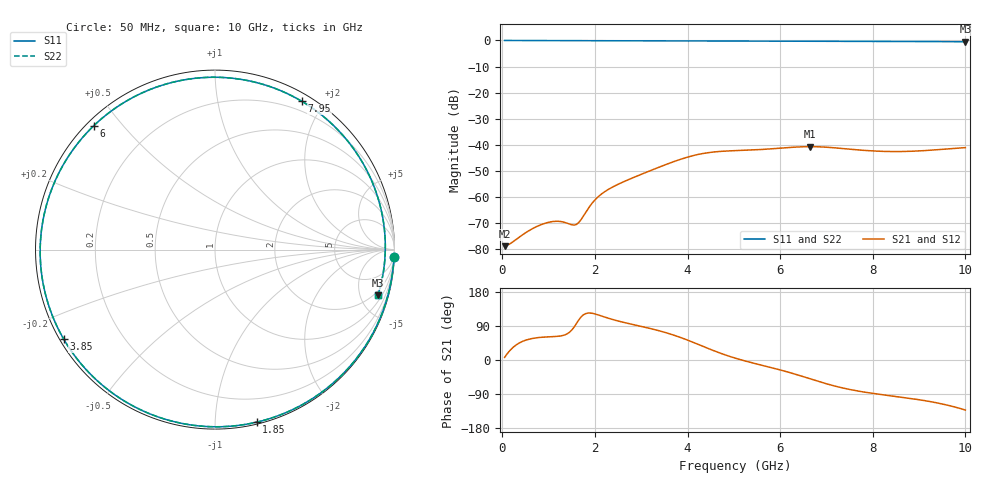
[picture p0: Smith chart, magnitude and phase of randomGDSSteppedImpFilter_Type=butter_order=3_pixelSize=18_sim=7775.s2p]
! freq	dB(S11)	phase(S11)	dB(S12)	phase(S12)
!  dB(S21)	phase(S21)	dB(S22)	phase(S22)
!S-par simulation data
#  GHz  S  DB  R 50
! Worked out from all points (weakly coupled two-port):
!   200 points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, 50 MHz to 10 GHz, reference 50 ohm
!   highest |S21| = -40.68 dB at 6.65 GHz (marker M1); lowest = -78.8 dB at 50 MHz (marker M2)
!   lowest |S11| = -0.5 dB at 10 GHz (marker M3), VSWR 33.80, Z = 76.6 - j348 ohm
!   |S11| at or under -10 dB: nowhere
!   |S22| runs from -0.5 to 0.0 dB; largest |S21 - S12| = 0
!   S11 on the Smith chart (normalised r, x): 50 MHz: 1, -52; 1.85 GHz: 0.01, -1.27; 3.85 GHz: 0.01, -0.27; 6 GHz: 0.02, +0.42; 7.95 GHz: 0.09, +1.74; 10 GHz: 1.53, -6.96
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0.05  -0.01 -2.2  -78.78 6.8  -78.78 6.8  -0.01 -2.2
0.45  -0.03 -19.2  -74.27 49.8  -74.27 49.8  -0.03 -19.2
0.85  -0.05 -36.0  -70.46 60.0  -70.46 60.0  -0.05 -36.1
1.2  -0.06 -50.5  -69.25 62.5  -69.25 62.5  -0.06 -50.5
1.55  -0.08 -64.6  -70.71 86.8  -70.71 86.8  -0.08 -64.6
1.75  -0.09 -72.5  -67.26 119.1  -67.26 119.1  -0.09 -72.5
1.85  -0.10 -76.4  -64.47 123.9  -64.47 123.9  -0.10 -76.5
2.05  -0.11 -84.2  -60.20 119.8  -60.20 119.8  -0.11 -84.2
2.3  -0.12 -93.7  -56.94 109.8  -56.94 109.8  -0.12 -93.7
2.85  -0.14 -114.0  -52.36 92.8  -52.36 92.8  -0.14 -114.0
3.4  -0.16 -133.7  -48.43 76.7  -48.43 76.7  -0.16 -133.7
3.85  -0.18 -149.5  -45.50 59.4  -45.50 59.4  -0.18 -149.5
4.45  -0.21 -170.4  -42.96 30.2  -42.96 30.2  -0.21 -170.4
5.05  -0.25 168.6  -42.19 4.2  -42.19 4.2  -0.25 168.6
6  -0.30 134.4  -41.25 -26.2  -41.25 -26.2  -0.30 134.4
6.65  -0.33 110.0  -40.68 -49.7  -40.68 -49.7  -0.33 110.0
6.7  -0.34 108.1  -40.68 -51.7  -40.68 -51.7  -0.34 108.1
7.3  -0.36 85.0  -41.31 -72.4  -41.31 -72.4  -0.36 85.0
7.95  -0.38 59.6  -42.26 -87.2  -42.26 -87.2  -0.38 59.6
8.35  -0.39 44.1  -42.53 -93.9  -42.53 -93.9  -0.39 44.1
9.15  -0.43 14.1  -42.15 -107.8  -42.15 -107.8  -0.43 14.1
10  -0.51 -15.6  -41.05 -132.1  -41.05 -132.1  -0.51 -15.6
